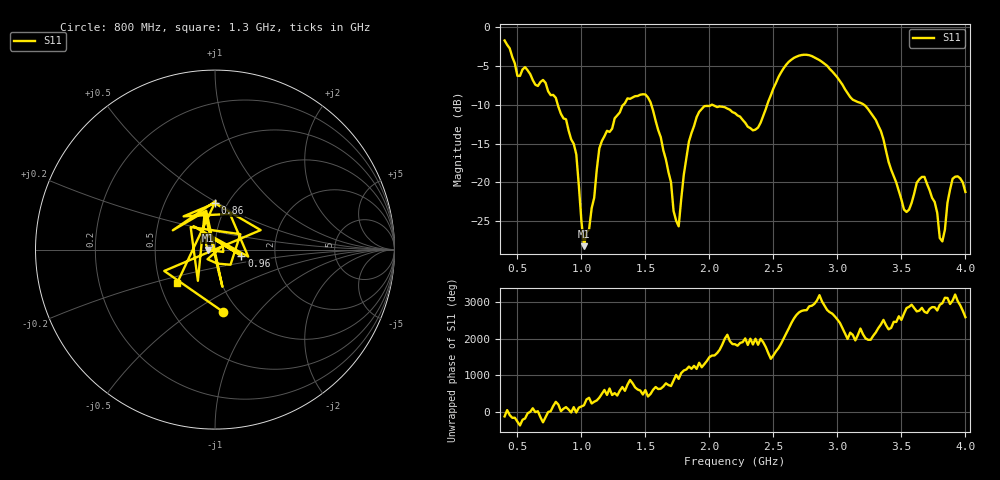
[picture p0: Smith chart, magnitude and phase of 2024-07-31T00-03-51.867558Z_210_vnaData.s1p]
!Created with skrf (http://scikit-rf.org).
# Hz S RI R 50.0
!freq ReS11 ImS11
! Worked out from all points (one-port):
!   181 points, 400 MHz to 4 GHz, reference 50 ohm
!   lowest |S11| = -28.3 dB at 1.02 GHz (marker M1), VSWR 1.08, Z = 46.3 - j0.159 ohm
!   |S11| at or under -10 dB: 815.5 MHz to 1.327 GHz (511.9 MHz wide, 47.8 % of centre); 1.546 GHz to 2.018 GHz (471.6 MHz wide, 26.5 % of centre); 3.208 GHz to end of sweep (the widest 3 of 4)
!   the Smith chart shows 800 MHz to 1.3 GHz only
!   S11 on the Smith chart (normalised r, x): 800 MHz: 0.85, -0.68; 860 MHz: 0.87, +0.48; 960 MHz: 1.34, -0.09; 1.3 GHz: 0.61, -0.25
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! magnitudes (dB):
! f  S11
! 400 MHz  -1.7
! 500 MHz  -6.3
! 560 MHz  -5.1
! 800 MHz  -9.1
! 860 MHz  -11.8
! 960 MHz  -16.4
! 1.02 GHz  -28.3
! 1.1 GHz  -22.0
! 1.14 GHz  -15.6
! 1.3 GHz  -11.0
! 1.36 GHz  -9.2
! 1.54 GHz  -9.7
! 1.76 GHz  -25.7
! 1.84 GHz  -14.7
! 1.92 GHz  -10.9
! 2.2 GHz  -11.1
! 2.38 GHz  -12.9
! 2.66 GHz  -3.9
! 2.88 GHz  -4.5
! 3.1 GHz  -9.0
! 3.3 GHz  -12.0
! 3.52 GHz  -23.5
! 3.56 GHz  -23.5
! 3.68 GHz  -19.3
! 3.76 GHz  -22.6
! 3.82 GHz  -27.6
! 3.9 GHz  -19.5
! 4 GHz  -21.3
